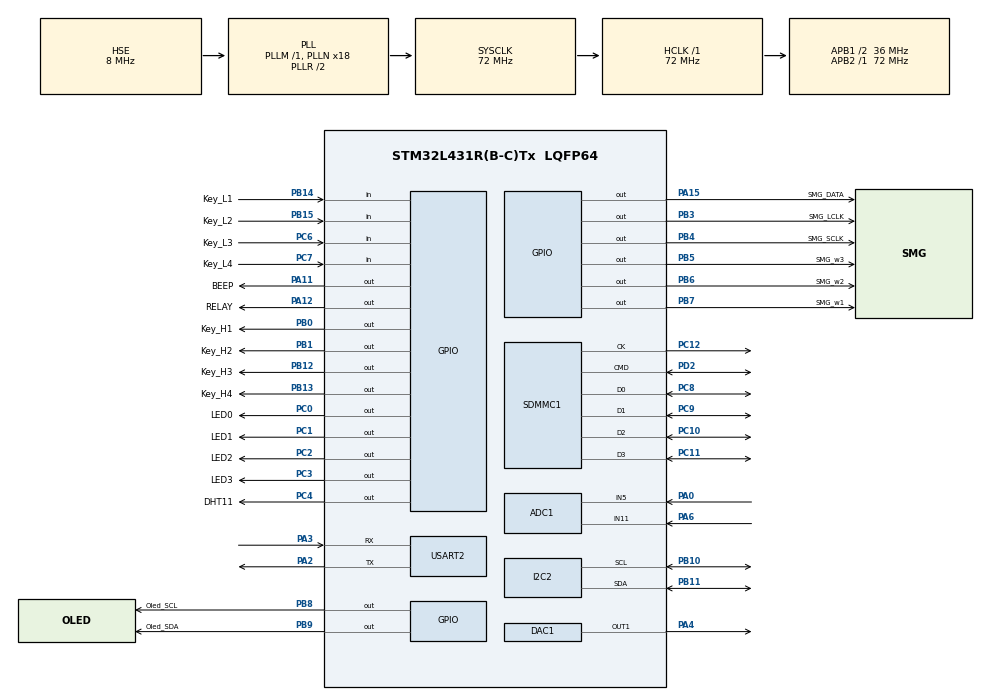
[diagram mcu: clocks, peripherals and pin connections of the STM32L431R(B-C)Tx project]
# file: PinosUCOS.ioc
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ADC1.Channel-0\#ChannelRegularConversion=ADC_CHANNEL_5
ADC1.Channel-1\#ChannelRegularConversion=ADC_CHANNEL_11
ADC1.ContinuousConvMode=ENABLE
ADC1.DMAContinuousRequests=ENABLE
ADC1.NbrOfConversion=2
ADC1.NbrOfConversionFlag=1
ADC1.OffsetNumber-0\#ChannelRegularConversion=ADC_OFFSET_NONE
ADC1.OffsetNumber-1\#ChannelRegularConversion=ADC_OFFSET_NONE
ADC1.Overrun=ADC_OVR_DATA_OVERWRITTEN
ADC1.OversamplingMode=ENABLE
ADC1.Rank-0\#ChannelRegularConversion=1
ADC1.Rank-1\#ChannelRegularConversion=2
ADC1.SamplingTime-0\#ChannelRegularConversion=ADC_SAMPLETIME_6CYCLES_5
ADC1.SamplingTime-1\#ChannelRegularConversion=ADC_SAMPLETIME_6CYCLES_5
ADC1.master=1
DAC1.DAC_Trigger-DAC_OUT1=DAC_TRIGGER_NONE
Dma.ADC1.0.Direction=DMA_PERIPH_TO_MEMORY
Dma.ADC1.0.Instance=DMA1_Channel1
Dma.ADC1.0.MemDataAlignment=DMA_MDATAALIGN_WORD
Dma.ADC1.0.MemInc=DMA_MINC_ENABLE
Dma.ADC1.0.Mode=DMA_CIRCULAR
Dma.ADC1.0.PeriphDataAlignment=DMA_PDATAALIGN_HALFWORD
Dma.ADC1.0.PeriphInc=DMA_PINC_DISABLE
Dma.ADC1.0.Priority=DMA_PRIORITY_HIGH
Dma.Request0=ADC1
I2C2.Timing=0x00C08CCB
Mcu.Family=STM32L4
Mcu.Name=STM32L431R(B-C)Tx
Mcu.Package=LQFP64
NVIC.PriorityGroup=NVIC_PRIORITYGROUP_4
NVIC.USART2_IRQn=true\:0\:0\:false\:false\:true\:true\:true\:true
PA0.Signal=ADCx_IN5
PA11.GPIO_Label=BEEP
PA11.GPIO_PuPd=GPIO_PULLUP
PA11.GPIO_Speed=GPIO_SPEED_FREQ_HIGH
PA11.PinState=GPIO_PIN_SET
PA11.Signal=GPIO_Output
PA12.GPIO_Label=RELAY
PA12.PinState=GPIO_PIN_SET
PA12.Signal=GPIO_Output
PA15\ (JTDI).GPIO_Label=SMG_DATA
PA15\ (JTDI).GPIO_Speed=GPIO_SPEED_FREQ_HIGH
PA15\ (JTDI).Signal=GPIO_Output
PA2.Mode=Asynchronous
PA2.Signal=USART2_TX
PA3.Mode=Asynchronous
PA3.Signal=USART2_RX
PA4.Signal=COMP_DAC11_group
PA6.Signal=ADCx_IN11
PB0.GPIO_Label=Key_H1
PB0.PinState=GPIO_PIN_SET
PB0.Signal=GPIO_Output
PB1.GPIO_Label=Key_H2
PB1.PinState=GPIO_PIN_SET
PB1.Signal=GPIO_Output
PB10.Mode=I2C
PB10.Signal=I2C2_SCL
PB11.Mode=I2C
PB11.Signal=I2C2_SDA
PB12.GPIO_Label=Key_H3
PB12.PinState=GPIO_PIN_SET
PB12.Signal=GPIO_Output
PB13.GPIO_Label=Key_H4
PB13.PinState=GPIO_PIN_SET
PB13.Signal=GPIO_Output
PB14.GPIO_Label=Key_L1
PB14.GPIO_PuPd=GPIO_PULLUP
PB14.Signal=GPIO_Input
PB15.GPIO_Label=Key_L2
PB15.GPIO_PuPd=GPIO_PULLUP
PB15.Signal=GPIO_Input
PB3\ (JTDO-TRACESWO).GPIO_Label=SMG_LCLK
PB3\ (JTDO-TRACESWO).GPIO_Speed=GPIO_SPEED_FREQ_HIGH
PB3\ (JTDO-TRACESWO).Signal=GPIO_Output
PB4\ (NJTRST).GPIO_Label=SMG_SCLK
PB4\ (NJTRST).GPIO_Speed=GPIO_SPEED_FREQ_HIGH
PB4\ (NJTRST).Signal=GPIO_Output
PB5.GPIO_Label=SMG_w3
PB5.GPIO_Speed=GPIO_SPEED_FREQ_HIGH
PB5.Signal=GPIO_Output
PB6.GPIO_Label=SMG_w2
PB6.GPIO_Speed=GPIO_SPEED_FREQ_HIGH
PB6.Signal=GPIO_Output
PB7.GPIO_Label=SMG_w1
PB7.GPIO_Speed=GPIO_SPEED_FREQ_HIGH
PB7.Signal=GPIO_Output
PB8.GPIO_Label=Oled_SCL
PB8.GPIO_ModeDefaultOutputPP=GPIO_MODE_OUTPUT_PP
PB8.GPIO_PuPd=GPIO_PULLUP
PB8.GPIO_Speed=GPIO_SPEED_FREQ_HIGH
PB8.PinState=GPIO_PIN_RESET
PB8.Signal=GPIO_Output
PB9.GPIO_FM9=__NULL
PB9.GPIO_Label=Oled_SDA
PB9.GPIO_ModeDefaultOutputPP=GPIO_MODE_OUTPUT_PP
PB9.GPIO_PuPd=GPIO_PULLUP
PB9.GPIO_Speed=GPIO_SPEED_FREQ_HIGH
PB9.Signal=GPIO_Output
PC0.GPIO_Label=LED0
PC0.Signal=GPIO_Output
PC1.GPIO_Label=LED1
PC1.Signal=GPIO_Output
PC10.Mode=SD_4_bits_Wide_bus
PC10.Signal=SDMMC1_D2
PC11.Mode=SD_4_bits_Wide_bus
PC11.Signal=SDMMC1_D3
PC12.Mode=SD_4_bits_Wide_bus
PC12.Signal=SDMMC1_CK
PC13.Mode=SYS_WakeUp1
PC13.Signal=SYS_WKUP2
PC14-OSC32_IN\ (PC14).Mode=LSE-External-Oscillator
PC14-OSC32_IN\ (PC14).Signal=RCC_OSC32_IN
PC15-OSC32_OUT\ (PC15).Mode=LSE-External-Oscillator
PC15-OSC32_OUT\ (PC15).Signal=RCC_OSC32_OUT
PC2.GPIO_Label=LED2
PC2.PinState=GPIO_PIN_SET
PC2.Signal=GPIO_Output
PC3.GPIO_Label=LED3
PC3.PinState=GPIO_PIN_SET
PC3.Signal=GPIO_Output
PC4.GPIO_Label=DHT11
PC4.GPIO_ModeDefaultOutputPP=GPIO_MODE_OUTPUT_OD
PC4.GPIO_PuPd=GPIO_NOPULL
PC4.PinState=GPIO_PIN_SET
PC4.Signal=GPIO_Output
PC6.GPIO_Label=Key_L3
PC6.GPIO_PuPd=GPIO_PULLUP
PC6.Signal=GPIO_Input
PC7.GPIO_Label=Key_L4
PC7.GPIO_PuPd=GPIO_PULLUP
PC7.Signal=GPIO_Input
PC8.Mode=SD_4_bits_Wide_bus
PC8.Signal=SDMMC1_D0
PC9.Mode=SD_4_bits_Wide_bus
PC9.Signal=SDMMC1_D1
PD2.Mode=SD_4_bits_Wide_bus
PD2.Signal=SDMMC1_CMD
PH0-OSC_IN\ (PH0).Mode=HSE-External-Oscillator
PH0-OSC_IN\ (PH0).Signal=RCC_OSC_IN
PH1-OSC_OUT\ (PH1).Mode=HSE-External-Oscillator
PH1-OSC_OUT\ (PH1).Signal=RCC_OSC_OUT
ProjectManager.HeapSize=0x200
ProjectManager.StackSize=0x400
ProjectManager.TargetToolchain=MDK-ARM V5.32
RCC.ADCFreq_Value=32000000
RCC.AHBFreq_Value=72000000
RCC.APB1CLKDivider=RCC_HCLK_DIV2
RCC.APB1Freq_Value=36000000
RCC.APB1TimFreq_Value=72000000
RCC.APB2Freq_Value=72000000
RCC.APB2TimFreq_Value=72000000
RCC.CortexFreq_Value=72000000
RCC.HCLKFreq_Value=72000000
RCC.HSE_VALUE=8000000
RCC.HSI48_VALUE=48000000
RCC.HSI_VALUE=16000000
RCC.MSI_VALUE=4000000
RCC.PLLN=18
RCC.PLLSourceVirtual=RCC_PLLSOURCE_HSE
RCC.RTCClockSelection=RCC_RTCCLKSOURCE_LSE
RCC.SYSCLKFreq_VALUE=72000000
RCC.SYSCLKSource=RCC_SYSCLKSOURCE_PLLCLK
RCC.VCOOutputFreq_Value=144000000
RTC.Date=27
RTC.Format=RTC_FORMAT_BIN
RTC.Month=RTC_MONTH_JULY
RTC.WeekDay=RTC_WEEKDAY_SUNDAY
RTC.Year=25
SDMMC1.ClockDiv=30
SH.ADCx_IN11.0=ADC1_IN11,IN11-Single-Ended
SH.ADCx_IN5.0=ADC1_IN5,IN5-Single-Ended
SH.COMP_DAC11_group.0=DAC1_OUT1,DAC_OUT1
USART2.VirtualMode-Asynchronous=VM_ASYNC
VP_FATFS_VS_Generic.Mode=User_defined
VP_RTC_VS_RTC_Activate.Mode=RTC_Enabled
VP_RTC_VS_RTC_Calendar.Mode=RTC_Calendar
board=custom

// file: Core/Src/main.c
/* USER CODE BEGIN Header */
/**
  ******************************************************************************
  * @file           : main.c
  * @brief          : Main program body
  ******************************************************************************
  * @attention
  *
  * Copyright (c) 2025 STMicroelectronics.
  * All rights reserved.
  *
  * This software is licensed under terms that can be found in the LICENSE file
  * in the root directory of this software component.
  * If no LICENSE file comes with this software, it is provided AS-IS.
  *
  ******************************************************************************
  */
/* USER CODE END Header */
#include "main.h"
#include "adc.h"
#include "dac.h"
#include "dma.h"
#include "fatfs.h"
#include "i2c.h"
#include "rtc.h"
#include "sdmmc.h"
#include "usart.h"
#include "gpio.h"

/* USER CODE BEGIN Includes */
#include "micro_str.h"
#include "key.h"
#include "oled.h"
#include "stdio.h"
#include "usart.h"

#include "tasks.h"
/* USER CODE END Includes */

/* USER CODE BEGIN PD */
OS_ERR err;

#define     TASK1_PRIO         	5
#define     TASK1_STACK_SIZE   	256
CPU_STK     task1_stack[TASK1_STACK_SIZE];
OS_TCB      task1_tcb;
void task1(void);
/* USER CODE END PD */

void SystemClock_Config(void);
void PeriphCommonClock_Config(void);

int main(void)
{

  /* MCU Configuration--------------------------------------------------------*/

  /* Reset of all peripherals, Initializes the Flash interface and the Systick. */
  HAL_Init();

  /* Configure the system clock */
  SystemClock_Config();

  /* Configure the peripherals common clocks */
  PeriphCommonClock_Config();

  /* USER CODE BEGIN SysInit */
	CoreDebug->DEMCR |= CoreDebug_DEMCR_TRCENA_Msk;
	DWT->CYCCNT = 0;
	DWT->CTRL |= DWT_CTRL_CYCCNTENA_Msk;
  /* USER CODE END SysInit */

  /* Initialize all configured peripherals */
  MX_GPIO_Init();
  MX_DMA_Init();
  MX_DAC1_Init();
  MX_ADC1_Init();
  MX_USART2_UART_Init();
  MX_I2C2_Init();
  MX_RTC_Init();
  /* USER CODE BEGIN 2 */
	CPU_Init();                                  // 初始化μC/CPU模块
	OSInit(&err);                             // 初始化μC/OS-III内核
	OS_CPU_SysTickInit(SystemCoreClock / OSCfg_TickRate_Hz);

	HAL_Delay(200);
	MX_SDMMC1_SD_Init();
  MX_FATFS_Init();
	OLED_Init();

	HAL_DAC_Start(&hdac1, DAC_CHANNEL_1);
	HAL_DAC_Start(&hdac1, DAC_CHANNEL_2);
	HAL_UART_Receive_IT(&huart2, &rxByte, 1);
	HAL_ADC_Start_DMA(&hadc1,adc_value,3);
	HAL_PWR_EnableWakeUpPin(PWR_WAKEUP_PIN2);

	retUSER = f_mount(NULL, "", 1);   // 先卸载
	retUSER = f_mount(&USERFatFS,"", 1);

	OSTaskCreate (&pinos_sys_task_tcb,
                 "Pino's Sys",
                 (OS_TASK_PTR)pinos_sys_task,
                 NULL,
                 PINOS_SYS_TASK_PRIO,
                 pinos_sys_task_stack,
                 PINOS_SYS_TASK_STACK_SIZE / 10,
                 PINOS_SYS_TASK_STACK_SIZE,
                 0,
                 0,
                 0,
                 (OS_OPT_TASK_STK_CHK | OS_OPT_TASK_STK_CLR),
                 &err);
	OSStart(&err);    //开始任务调度（开启任务调度器）
  /* USER CODE END 2 */

  /* Infinite loop */
  while (1)
  {

  }
}

void SystemClock_Config(void)
{
  RCC_OscInitTypeDef RCC_OscInitStruct = {0};
  RCC_ClkInitTypeDef RCC_ClkInitStruct = {0};

  /** Configure the main internal regulator output voltage
  */
  if (HAL_PWREx_ControlVoltageScaling(PWR_REGULATOR_VOLTAGE_SCALE1) != HAL_OK)
  {
    Error_Handler();
  }

  /** Configure LSE Drive Capability
  */
  HAL_PWR_EnableBkUpAccess();
  __HAL_RCC_LSEDRIVE_CONFIG(RCC_LSEDRIVE_LOW);

  /** Initializes the RCC Oscillators according to the specified parameters
  * in the RCC_OscInitTypeDef structure.
  */
  RCC_OscInitStruct.OscillatorType = RCC_OSCILLATORTYPE_HSE|RCC_OSCILLATORTYPE_LSE;
  RCC_OscInitStruct.HSEState = RCC_HSE_ON;
  RCC_OscInitStruct.LSEState = RCC_LSE_ON;
  RCC_OscInitStruct.PLL.PLLState = RCC_PLL_ON;
  RCC_OscInitStruct.PLL.PLLSource = RCC_PLLSOURCE_HSE;
  RCC_OscInitStruct.PLL.PLLM = 1;
  RCC_OscInitStruct.PLL.PLLN = 18;
  RCC_OscInitStruct.PLL.PLLP = RCC_PLLP_DIV7;
  RCC_OscInitStruct.PLL.PLLQ = RCC_PLLQ_DIV2;
  RCC_OscInitStruct.PLL.PLLR = RCC_PLLR_DIV2;
  if (HAL_RCC_OscConfig(&RCC_OscInitStruct) != HAL_OK)
  {
    Error_Handler();
  }

  /** Initializes the CPU, AHB and APB buses clocks
  */
  RCC_ClkInitStruct.ClockType = RCC_CLOCKTYPE_HCLK|RCC_CLOCKTYPE_SYSCLK
                              |RCC_CLOCKTYPE_PCLK1|RCC_CLOCKTYPE_PCLK2;
  RCC_ClkInitStruct.SYSCLKSource = RCC_SYSCLKSOURCE_PLLCLK;
  RCC_ClkInitStruct.AHBCLKDivider = RCC_SYSCLK_DIV1;
  RCC_ClkInitStruct.APB1CLKDivider = RCC_HCLK_DIV2;
  RCC_ClkInitStruct.APB2CLKDivider = RCC_HCLK_DIV1;

  if (HAL_RCC_ClockConfig(&RCC_ClkInitStruct, FLASH_LATENCY_4) != HAL_OK)
  {
    Error_Handler();
  }
}

void PeriphCommonClock_Config(void)
{
  RCC_PeriphCLKInitTypeDef PeriphClkInit = {0};

  /** Initializes the peripherals clock
  */
  PeriphClkInit.PeriphClockSelection = RCC_PERIPHCLK_SDMMC1|RCC_PERIPHCLK_ADC;
  PeriphClkInit.AdcClockSelection = RCC_ADCCLKSOURCE_PLLSAI1;
  PeriphClkInit.Sdmmc1ClockSelection = RCC_SDMMC1CLKSOURCE_PLLSAI1;
  PeriphClkInit.PLLSAI1.PLLSAI1Source = RCC_PLLSOURCE_HSE;
  PeriphClkInit.PLLSAI1.PLLSAI1M = 1;
  PeriphClkInit.PLLSAI1.PLLSAI1N = 8;
  PeriphClkInit.PLLSAI1.PLLSAI1P = RCC_PLLP_DIV7;
  PeriphClkInit.PLLSAI1.PLLSAI1Q = RCC_PLLQ_DIV2;
  PeriphClkInit.PLLSAI1.PLLSAI1R = RCC_PLLR_DIV2;
  PeriphClkInit.PLLSAI1.PLLSAI1ClockOut = RCC_PLLSAI1_48M2CLK|RCC_PLLSAI1_ADC1CLK;
  if (HAL_RCCEx_PeriphCLKConfig(&PeriphClkInit) != HAL_OK)
  {
    Error_Handler();
  }
}

/* USER CODE BEGIN 4 */
HAL_StatusTypeDef HAL_InitTick(uint32_t TickPriority)
{
    /* 重要声明：此函数被有意留空！ */
    /* μC/OS-III已接管SysTick，HAL时基将由OS_CPU_SysTickHandler同步更新 */
    return HAL_OK;
}

/* USER CODE END 4 */

void Error_Handler(void)
{
  __disable_irq();
  while (1)
  {
  }
}
